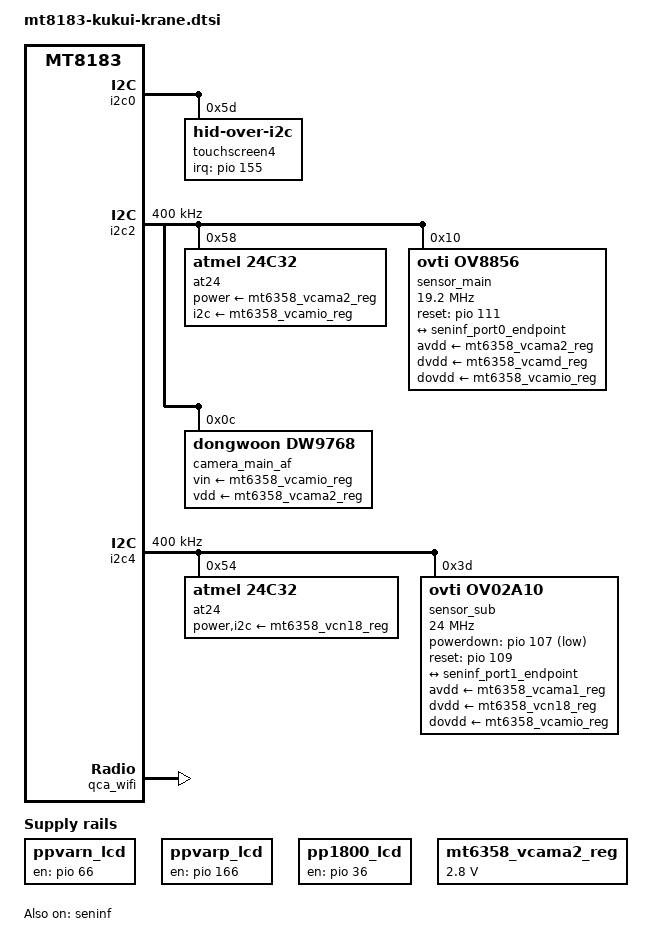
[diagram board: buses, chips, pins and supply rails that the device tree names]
// SPDX-License-Identifier: (GPL-2.0 OR MIT)
/*
 * Copyright 2019 Google LLC
 */

#include "mt8183-kukui.dtsi"

/ {
	ppvarn_lcd: ppvarn-lcd {
		compatible = "regulator-fixed";
		regulator-name = "ppvarn_lcd";
		pinctrl-names = "default";
		pinctrl-0 = <&ppvarn_lcd_en>;

		enable-active-high;

		gpio = <&pio 66 GPIO_ACTIVE_HIGH>;
	};

	ppvarp_lcd: ppvarp-lcd {
		compatible = "regulator-fixed";
		regulator-name = "ppvarp_lcd";
		pinctrl-names = "default";
		pinctrl-0 = <&ppvarp_lcd_en>;

		enable-active-high;

		gpio = <&pio 166 GPIO_ACTIVE_HIGH>;
	};

	pp1800_lcd: pp1800-lcd {
		compatible = "regulator-fixed";
		regulator-name = "pp1800_lcd";
		pinctrl-names = "default";
		pinctrl-0 = <&pp1800_lcd_en>;

		enable-active-high;

		gpio = <&pio 36 GPIO_ACTIVE_HIGH>;
	};
};

&bluetooth {
	firmware-name = "nvm_00440302_i2s_eu.bin";
};

&i2c0 {
	status = "okay";

	touchscreen4: touchscreen@5d {
		compatible = "hid-over-i2c";
		reg = <0x5d>;
		pinctrl-names = "default";
		pinctrl-0 = <&open_touch>;

		interrupt-parent = <&pio>;
		interrupts = <155 IRQ_TYPE_EDGE_FALLING>;

		post-power-on-delay-ms = <10>;
		hid-descr-addr = <0x0001>;
	};
};

&mt6358_vcama2_reg {
	regulator-min-microvolt = <2800000>;
	regulator-max-microvolt = <2800000>;
};

&i2c2 {
	pinctrl-names = "default";
	pinctrl-0 = <&i2c2_pins>;
	status = "okay";
	clock-frequency = <400000>;

	at24@58 {
		compatible = "atmel,24c32";
		reg = <0x58>;
		pagesize = <32>;
		power-supply = <&mt6358_vcama2_reg>;
		i2c-supply = <&mt6358_vcamio_reg>;
	};

	sensor_main: sensor_main {
		status = "okay";
		compatible = "ovti,ov8856";
		reg = <0x10>;

		clocks = <&topckgen CLK_TOP_MUX_CAMTG>,
			 <&topckgen CLK_TOP_UNIVP_192M_D8>;
		clock-names = "xvclk", "freq_mux";
		clock-frequency = <19200000>;

		assigned-clocks = <&topckgen CLK_TOP_MUX_CAMTG>,
				  <&topckgen CLK_TOP_UNIVP_192M_D8>;
		assigned-clock-parents = <&topckgen CLK_TOP_UNIVP_192M_D8>;
		assigned-clock-rates = <0>, <24000000>;

		reset-gpios = <&pio 111 GPIO_ACTIVE_HIGH>;
		pinctrl-names = "default";
		pinctrl-0 = <&camera_pins_cam0>;

		avdd-supply = <&mt6358_vcama2_reg>;
		dvdd-supply = <&mt6358_vcamd_reg>;
		dovdd-supply = <&mt6358_vcamio_reg>;

		lens-focus = <&camera_main_af>;

		port {
			ov8856_endpoint: endpoint {
				clock-lanes = <0>;
				clock-noncontinuous;
				data-lanes = <1 2 3 4>;
				link-frequencies = /bits/ 64 <360000000 180000000>;
				remote-endpoint = <&seninf_port0_endpoint>;
			};
		};
	};

	camera_main_af: camera_main_af {
		compatible = "dongwoon,dw9768";
		reg = <0x0c>;

		vin-supply = <&mt6358_vcamio_reg>;
		vdd-supply = <&mt6358_vcama2_reg>;
	};
};

&i2c4 {
	pinctrl-names = "default";
	pinctrl-0 = <&i2c4_pins>;
	status = "okay";
	clock-frequency = <400000>;

	at24@54 {
		compatible = "atmel,24c32";
		reg = <0x54>;
		pagesize = <32>;
		power-supply = <&mt6358_vcn18_reg>;
		i2c-supply = <&mt6358_vcn18_reg>;
	};

	sensor_sub: sensor_sub {
		status = "okay";
		compatible = "ovti,ov02a10";
		reg = <0x3d>;

		clocks = <&topckgen CLK_TOP_MUX_CAMTG2>,
			 <&topckgen CLK_TOP_UNIVP_192M_D8>;
		clock-names = "eclk", "freq_mux";
		clock-frequency = <24000000>;
		rotation = <180>;
		ovti,mipi-tx-speed = <3>;

		assigned-clocks = <&topckgen CLK_TOP_MUX_CAMTG2>,
				  <&topckgen CLK_TOP_UNIVP_192M_D8>;
		assigned-clock-parents = <&topckgen CLK_TOP_UNIVP_192M_D8>;
		assigned-clock-rates = <0>, <24000000>;

		powerdown-gpios = <&pio 107 1>;
		reset-gpios = <&pio 109 0>;
		pinctrl-names = "default";
		pinctrl-0 = <&camera_pins_cam1>;

		avdd-supply = <&mt6358_vcama1_reg>;
		dvdd-supply = <&mt6358_vcn18_reg>;
		dovdd-supply = <&mt6358_vcamio_reg>;

		port {
			ov02a10_endpoint: endpoint {
				data-lanes = <1>;
				clock-noncontinuous;
				link-frequencies = /bits/ 64 <390000000>;
				remote-endpoint = <&seninf_port1_endpoint>;
			};
		};
	};
};

&it6505dptx {
	afe-setting = <1>;
};

&pio {
	/* 192 lines */
	gpio-line-names =
		"SPI_AP_EC_CS_L",
		"SPI_AP_EC_MOSI",
		"SPI_AP_EC_CLK",
		"I2S3_DO",
		"USB_PD_INT_ODL",
		"",
		"",
		"",
		"",
		"IT6505_HPD_L",
		"I2S3_TDM_D3",
		"SOC_I2C6_1V8_SCL",
		"SOC_I2C6_1V8_SDA",
		"DPI_D0",
		"DPI_D1",
		"DPI_D2",
		"DPI_D3",
		"DPI_D4",
		"DPI_D5",
		"DPI_D6",
		"DPI_D7",
		"DPI_D8",
		"DPI_D9",
		"DPI_D10",
		"DPI_D11",
		"DPI_HSYNC",
		"DPI_VSYNC",
		"DPI_DE",
		"DPI_CK",
		"AP_MSDC1_CLK",
		"AP_MSDC1_DAT3",
		"AP_MSDC1_CMD",
		"AP_MSDC1_DAT0",
		"AP_MSDC1_DAT2",
		"AP_MSDC1_DAT1",
		"",
		"",
		"",
		"",
		"",
		"",
		"OTG_EN",
		"DRVBUS",
		"DISP_PWM",
		"DSI_TE",
		"LCM_RST_1V8",
		"AP_CTS_WIFI_RTS",
		"AP_RTS_WIFI_CTS",
		"SOC_I2C5_1V8_SCL",
		"SOC_I2C5_1V8_SDA",
		"SOC_I2C3_1V8_SCL",
		"SOC_I2C3_1V8_SDA",
		"",
		"",
		"",
		"",
		"",
		"",
		"",
		"",
		"",
		"",
		"",
		"",
		"",
		"",
		"",
		"",
		"",
		"",
		"",
		"",
		"",
		"",
		"",
		"",
		"",
		"",
		"",
		"",
		"",
		"SOC_I2C1_1V8_SDA",
		"SOC_I2C0_1V8_SDA",
		"SOC_I2C0_1V8_SCL",
		"SOC_I2C1_1V8_SCL",
		"AP_SPI_H1_MISO",
		"AP_SPI_H1_CS_L",
		"AP_SPI_H1_MOSI",
		"AP_SPI_H1_CLK",
		"I2S5_BCK",
		"I2S5_LRCK",
		"I2S5_DO",
		"BOOTBLOCK_EN_L",
		"MT8183_KPCOL0",
		"SPI_AP_EC_MISO",
		"UART_DBG_TX_AP_RX",
		"UART_AP_TX_DBG_RX",
		"I2S2_MCK",
		"I2S2_BCK",
		"CLK_5M_WCAM",
		"CLK_2M_UCAM",
		"I2S2_LRCK",
		"I2S2_DI",
		"SOC_I2C2_1V8_SCL",
		"SOC_I2C2_1V8_SDA",
		"SOC_I2C4_1V8_SCL",
		"SOC_I2C4_1V8_SDA",
		"",
		"SCL8",
		"SDA8",
		"FCAM_PWDN_L",
		"",
		"",
		"",
		"",
		"",
		"",
		"",
		"",
		"",
		"",
		"",
		"",
		"",
		"",
		"",
		"",
		"",
		"",
		"",
		"",
		"",
		"",
		"",
		"",
		"",
		"I2S_PMIC",
		"I2S_PMIC",
		"I2S_PMIC",
		"I2S_PMIC",
		"I2S_PMIC",
		"I2S_PMIC",
		"I2S_PMIC",
		"I2S_PMIC",
		"",
		"",
		"",
		"",
		"",
		"",
		/*
		 * AP_FLASH_WP_L is crossystem ABI. Rev1 schematics
		 * call it BIOS_FLASH_WP_R_L.
		 */
		"AP_FLASH_WP_L",
		"EC_AP_INT_ODL",
		"IT6505_INT_ODL",
		"H1_INT_OD_L",
		"",
		"",
		"",
		"",
		"",
		"",
		"",
		"AP_SPI_FLASH_MISO",
		"AP_SPI_FLASH_CS_L",
		"AP_SPI_FLASH_MOSI",
		"AP_SPI_FLASH_CLK",
		"DA7219_IRQ",
		"",
		"",
		"",
		"",
		"",
		"",
		"",
		"",
		"",
		"",
		"",
		"",
		"",
		"",
		"",
		"",
		"",
		"",
		"",
		"",
		"",
		"",
		"",
		"",
		"",
		"";

	ppvarp_lcd_en: ppvarp-lcd-en {
		pins1 {
			pinmux = <PINMUX_GPIO66__FUNC_GPIO66>;
			output-low;
		};
	};

	ppvarn_lcd_en: ppvarn-lcd-en {
		pins1 {
			pinmux = <PINMUX_GPIO166__FUNC_GPIO166>;
			output-low;
		};
	};

	pp1800_lcd_en: pp1800-lcd-en {
		pins1 {
			pinmux = <PINMUX_GPIO36__FUNC_GPIO36>;
			output-low;
		};
	};

	open_touch: open_touch {
		irq_pin {
			pinmux = <PINMUX_GPIO155__FUNC_GPIO155>;
			input-enable;
			bias-pull-up;
		};

		rst_pin {
			pinmux = <PINMUX_GPIO156__FUNC_GPIO156>;

			/*
			 * The pen driver doesn't currently support  driving
			 * this reset line.  By specifying output-high here
			 * we're relying on the fact that this pin has a default
			 * pulldown at boot (which makes sure the pen was in
			 * reset if it was powered) and then we set it high here
			 * to take it out of reset.  Better would be if the pen
			 * driver could control this and we could remove
			 * "output-high" here.
			 */
			output-high;
		};
	};
};

&qca_wifi {
	qcom,ath10k-calibration-variant = "LE_Krane";
};

&seninf {
	status = "okay";

	ports {
		port@0 {
			reg = <0>;

			seninf_port0_endpoint: endpoint {
				clock-lanes = <2>;
				clock-noncontinuous;
				data-lanes = <0 1 3 4>;
				link-frequencies = /bits/ 64 <360000000 180000000>;
				remote-endpoint = <&ov8856_endpoint>;
			};
		};

		port@1 {
			reg = <1>;

			seninf_port1_endpoint: endpoint {
				data-lanes = <1>;
				remote-endpoint = <&ov02a10_endpoint>;
			};
		};
	};
};

&camera_pins_cam0 {
	pins_reset {
		pinmux = <PINMUX_GPIO111__FUNC_GPIO111>;
		output-low;
	};
};

&camera_pins_cam1 {
	pins_powerdown {
		pinmux = <PINMUX_GPIO107__FUNC_GPIO107>;
		output-high;
	};

	pins_reset {
		pinmux = <PINMUX_GPIO109__FUNC_GPIO109>;
		output-low;
	};
};
